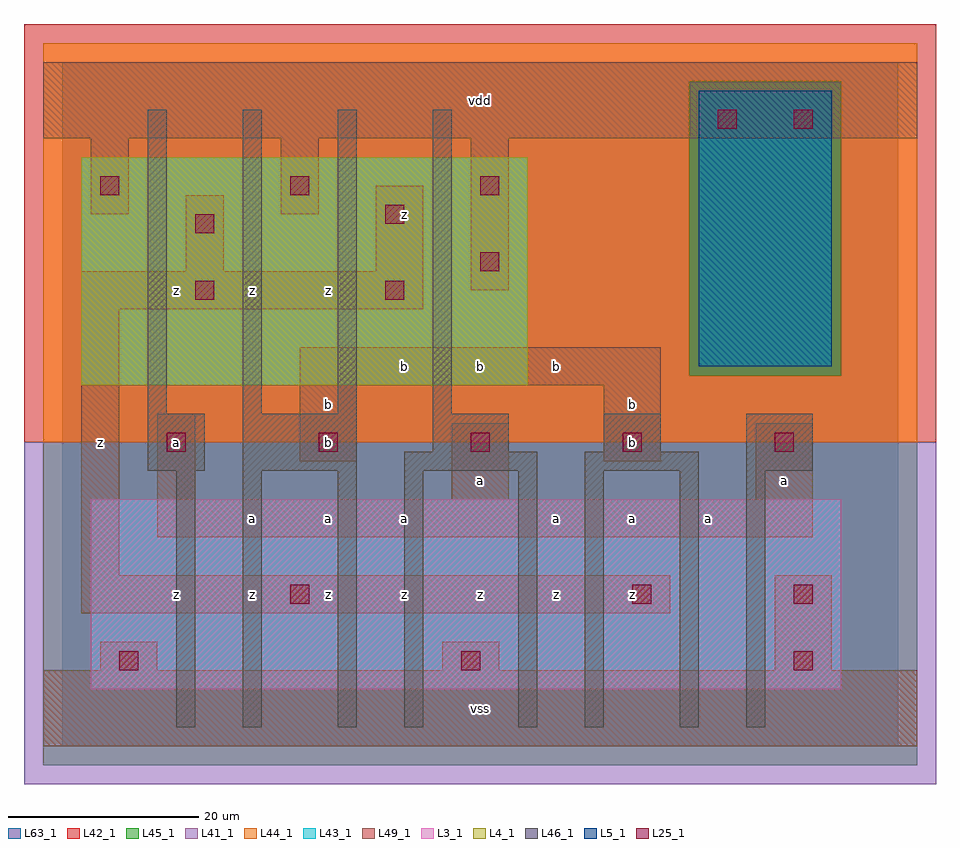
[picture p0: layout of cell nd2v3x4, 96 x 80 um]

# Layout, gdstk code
import gdstk
lib = gdstk.Library(unit=1e-6, precision=1e-09)
def R(c, l, rs):  # rectangles x0, y0, x1, y1
    for r in rs: c.add(gdstk.rectangle(r[:2], r[2:], *l))
def A(c, l, x, y, w, h, nx, ny, dx, dy):  # array of equal rectangles
    R(c, l, [(x+i*dx, y+j*dy, x+i*dx+w, y+j*dy+h) for i in range(nx) for j in range(ny)])
L3_1 = (3, 1)
L4_1 = (4, 1)
L5_1 = (5, 1)
L25_1 = (25, 1)
L41_1 = (41, 1)
L42_1 = (42, 1)
L43_1 = (43, 1)
L44_1 = (44, 1)
L45_1 = (45, 1)
L46_1 = (46, 1)
L49_1 = (49, 1)
L63_1 = (63, 1)

nd2v3x4 = lib.new_cell('nd2v3x4')
R(nd2v3x4, L3_1, [(3,6,82,26)])
R(nd2v3x4, L4_1, [(2,38,49,62)])
R(nd2v3x4, L5_1, [(67,40,81,69)])
A(nd2v3x4, L25_1, 11, 31, 2, 2, 5, 1, 16, 0)
A(nd2v3x4, L25_1, 4, 58, 2, 2, 3, 1, 20, 0)
R(nd2v3x4, L25_1, [(6,8,8,10), (42,8,44,10), (77,8,79,10), (24,15,26,17), (60,15,62,17), (77,15,79,17), (14,47,16,49), (34,47,36,49), (44,50,46,52), (14,54,16,56), (34,55,36,57), (69,65,71,67), (77,65,79,67)])
R(nd2v3x4, L41_1, [(-4,-4,92,32)])
R(nd2v3x4, L42_1, [(-4,32,92,76)])
R(nd2v3x4, L43_1, [(3,6,82,26), (2,38,49,62), (67,40,81,69)])
R(nd2v3x4, L44_1, [(-2,32,90,39), (-2,39,66,70), (82,39,90,70), (-2,70,90,74)])
R(nd2v3x4, L45_1, [(-2,-2,90,32), (66,39,82,70)])
A(nd2v3x4, L46_1, 9, 35, 2, 32, 4, 1, 10, 0)
R(nd2v3x4, L46_1, [(12,2,14,29), (19,2,21,29), (29,2,31,29), (36,2,38,29), (48,2,50,29), (55,2,57,29), (65,2,67,29), (72,2,74,29), (9,29,15,35), (19,29,31,35), (36,29,50,31), (55,29,67,31), (72,29,79,35), (39,31,47,35), (57,31,63,35)])
R(nd2v3x4, L49_1, [(-2,0,90,8), (4,8,10,11), (40,8,46,11), (75,8,81,18), (2,14,64,18), (2,18,6,46), (10,22,79,26), (10,26,14,35), (41,26,47,34), (73,26,79,34), (25,30,31,38), (57,30,63,38), (25,38,63,42), (2,46,38,50), (43,48,47,64), (13,50,17,58), (33,50,38,59), (3,56,7,64), (23,56,27,64), (-2,64,90,72)])
R(nd2v3x4, L63_1, [(0,0,88,72)])
nd2v3x4.add(gdstk.Label('z', (12,16), layer=49, texttype=1))
nd2v3x4.add(gdstk.Label('a', (12,32), layer=49, texttype=1))
nd2v3x4.add(gdstk.Label('z', (4,32), layer=49, texttype=1))
nd2v3x4.add(gdstk.Label('z', (12,48), layer=49, texttype=1))
nd2v3x4.add(gdstk.Label('z', (20,16), layer=49, texttype=1))
nd2v3x4.add(gdstk.Label('z', (28,16), layer=49, texttype=1))
nd2v3x4.add(gdstk.Label('a', (20,24), layer=49, texttype=1))
nd2v3x4.add(gdstk.Label('a', (28,24), layer=49, texttype=1))
nd2v3x4.add(gdstk.Label('b', (28,32), layer=49, texttype=1))
nd2v3x4.add(gdstk.Label('b', (28,36), layer=49, texttype=1))
nd2v3x4.add(gdstk.Label('z', (20,48), layer=49, texttype=1))
nd2v3x4.add(gdstk.Label('z', (28,48), layer=49, texttype=1))
nd2v3x4.add(gdstk.Label('vss', (44,4), layer=49, texttype=1))
nd2v3x4.add(gdstk.Label('z', (44,16), layer=49, texttype=1))
nd2v3x4.add(gdstk.Label('z', (36,16), layer=49, texttype=1))
nd2v3x4.add(gdstk.Label('a', (36,24), layer=49, texttype=1))
nd2v3x4.add(gdstk.Label('a', (44,28), layer=49, texttype=1))
nd2v3x4.add(gdstk.Label('b', (36,40), layer=49, texttype=1))
nd2v3x4.add(gdstk.Label('b', (44,40), layer=49, texttype=1))
nd2v3x4.add(gdstk.Label('z', (36,56), layer=49, texttype=1))
nd2v3x4.add(gdstk.Label('vdd', (44,68), layer=49, texttype=1))
nd2v3x4.add(gdstk.Label('z', (60,16), layer=49, texttype=1))
nd2v3x4.add(gdstk.Label('z', (52,16), layer=49, texttype=1))
nd2v3x4.add(gdstk.Label('a', (52,24), layer=49, texttype=1))
nd2v3x4.add(gdstk.Label('a', (60,24), layer=49, texttype=1))
nd2v3x4.add(gdstk.Label('a', (68,24), layer=49, texttype=1))
nd2v3x4.add(gdstk.Label('b', (60,32), layer=49, texttype=1))
nd2v3x4.add(gdstk.Label('b', (52,40), layer=49, texttype=1))
nd2v3x4.add(gdstk.Label('b', (60,36), layer=49, texttype=1))
nd2v3x4.add(gdstk.Label('a', (76,28), layer=49, texttype=1))

lib.write_gds('nd2v3x4.gds')
